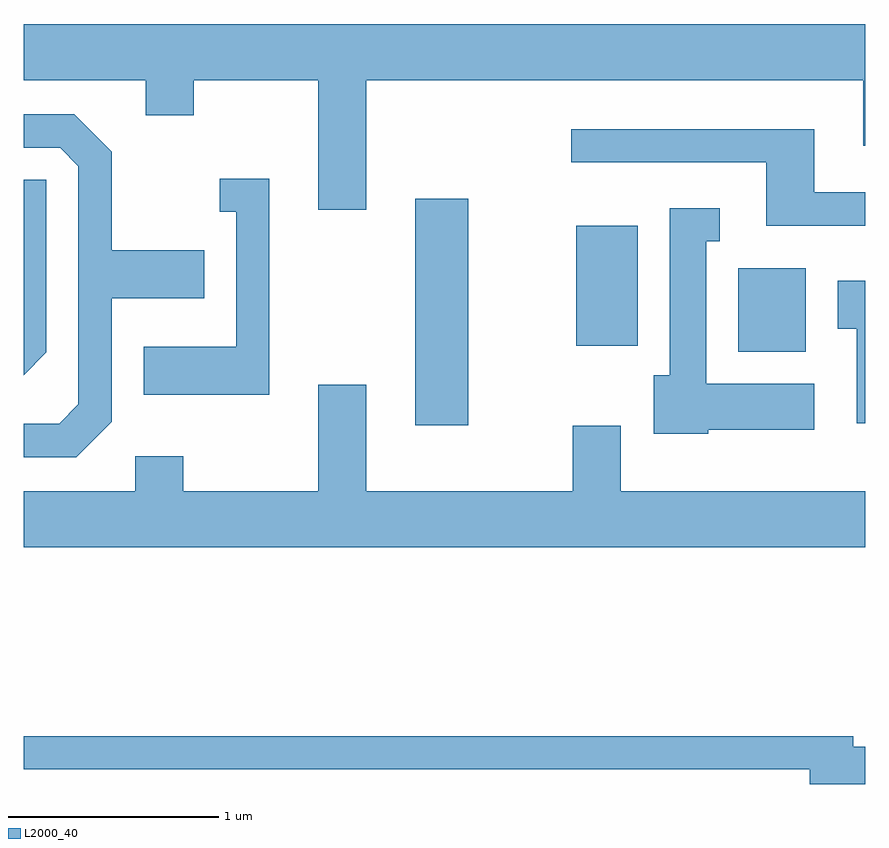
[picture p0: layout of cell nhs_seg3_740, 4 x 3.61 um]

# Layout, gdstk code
import gdstk
lib = gdstk.Library(unit=1e-6, precision=1e-09)
def R(c, l, rs):  # rectangles x0, y0, x1, y1
    for r in rs: c.add(gdstk.rectangle(r[:2], r[2:], *l))
def P(c, l, *ps):  # polygons
    for p in ps: c.add(gdstk.Polygon(p, *l))
L2000_40 = (2000, 40)

nhs_seg3_740 = lib.new_cell('nhs_seg3_740')
R(nhs_seg3_740, L2000_40, [(207.471,1237.596,207.724,1238.674), (209.006,1237.946,209.329,1238.344), (208.236,1237.976,208.529,1238.544)])
P(nhs_seg3_740, L2000_40, [(207.239,1239.236),(209.601,1239.236),(209.601,1238.926),(209.611,1238.926),(209.611,1239.504),(205.611,1239.504),(205.611,1239.236),(206.191,1239.236),(206.191,1239.071),(206.419,1239.071),(206.419,1239.236),(207.011,1239.236),(207.011,1238.621),(207.239,1238.621)],
  [(206.029,1237.614),(206.029,1238.201),(206.469,1238.201),(206.469,1238.429),(206.029,1238.429),(206.029,1238.897),(205.852,1239.074),(205.611,1239.074),(205.611,1238.916),(205.784,1238.916),(205.871,1238.829),(205.871,1237.697),(205.779,1237.604),(205.611,1237.604),(205.611,1237.446),(205.862,1237.446)],
  [(209.611,1238.704),(209.369,1238.704),(209.369,1239.004),(208.213,1239.004),(208.213,1238.846),(209.141,1238.846),(209.141,1238.546),(209.611,1238.546)],
  [(206.779,1238.769),(206.543,1238.769),(206.543,1238.611),(206.621,1238.611),(206.621,1237.969),(206.181,1237.969),(206.181,1237.741),(206.779,1237.741)],
  [(205.719,1237.944),(205.719,1238.764),(205.611,1238.764),(205.611,1237.835)],
  [(208.864,1237.576),(209.369,1237.576),(209.369,1237.794),(208.854,1237.794),(208.854,1238.471),(208.918,1238.471),(208.918,1238.629),(208.681,1238.629),(208.681,1237.834),(208.606,1237.834),(208.606,1237.556),(208.864,1237.556)],
  [(209.611,1238.284),(209.481,1238.284),(209.481,1238.056),(209.571,1238.056),(209.571,1237.606),(209.611,1237.606)],
  [(209.611,1237.284),(208.449,1237.284),(208.449,1237.594),(208.221,1237.594),(208.221,1237.284),(207.239,1237.284),(207.239,1237.789),(207.011,1237.789),(207.011,1237.284),(206.369,1237.284),(206.369,1237.449),(206.141,1237.449),(206.141,1237.284),(205.611,1237.284),(205.611,1237.016),(209.611,1237.016)],
  [(209.611,1236.069),(209.554,1236.069),(209.554,1236.119),(205.611,1236.119),(205.611,1235.961),(209.346,1235.961),(209.346,1235.892),(209.611,1235.892)])

lib.write_gds('nhs_seg3_740.gds')
